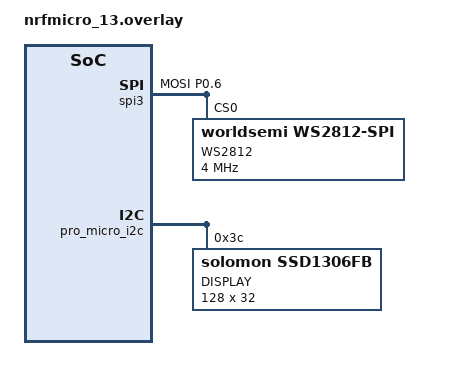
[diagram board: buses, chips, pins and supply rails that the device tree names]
#include <dt-bindings/led/led.h>

&pinctrl {
    spi3_default: spi3_default {
        group1 {
            psels = <NRF_PSEL(SPIM_MOSI, 0, 6)>;
        };
    };

    spi3_sleep: spi3_sleep {
        group1 {
            psels = <NRF_PSEL(SPIM_MOSI, 0, 6)>;
            low-power-enable;
        };
    };
};

&spi3 {
  compatible = "nordic,nrf-spim";
  status = "okay";

  pinctrl-0 = <&spi3_default>;
  pinctrl-1 = <&spi3_sleep>;
  pinctrl-names = "default", "sleep";

  led_strip: ws2812@0 {
    compatible = "worldsemi,ws2812-spi";
    label = "WS2812";

    /* SPI */
    reg = <0>; /* ignored, but necessary for SPI bindings */
    spi-max-frequency = <4000000>;

    /* WS2812 */
    chain-length = <54>; /* number of LEDs */
    spi-one-frame = <0x70>;
    spi-zero-frame = <0x40>;
    color-mapping = <LED_COLOR_ID_GREEN
						LED_COLOR_ID_RED
                        LED_COLOR_ID_BLUE>;
  };
};

&pro_micro_i2c {
	status = "okay";

	oled: ssd1306@3c {
		compatible = "solomon,ssd1306fb";
		reg = <0x3c>;
		label = "DISPLAY";
		width = <128>;
		height = <32>;
		segment-offset = <0>;
		page-offset = <0>;
		display-offset = <0>;
		multiplex-ratio = <31>;
		segment-remap;
		com-invdir;
		com-sequential;
		prechargep = <0x22>;
	};
};


/ {
	chosen {
		zmk,underglow = &led_strip;
        zephyr,display = &oled;
	};
};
